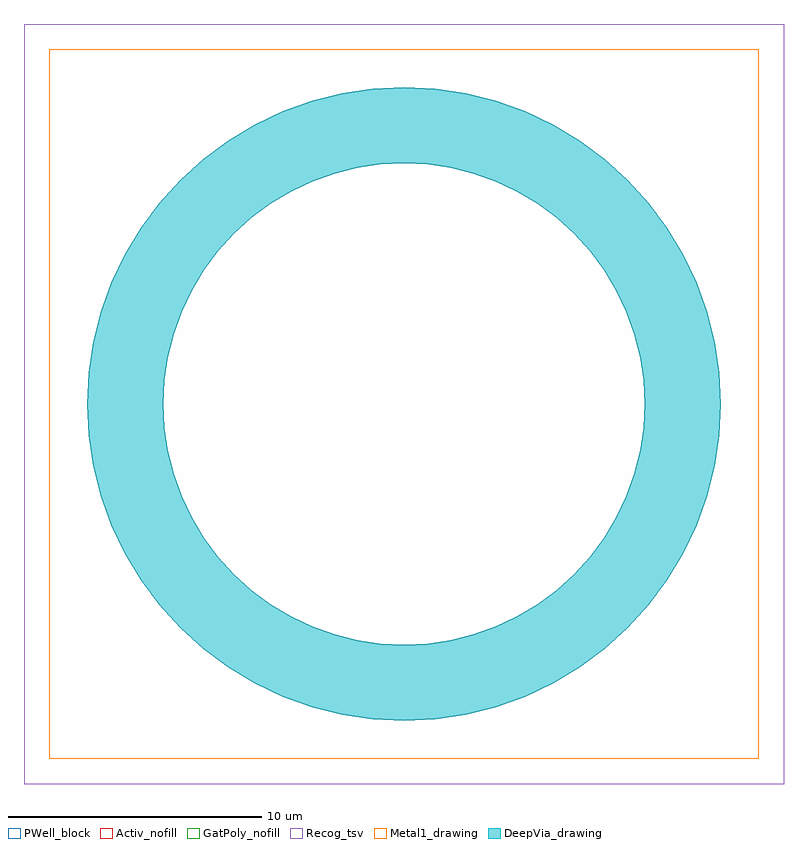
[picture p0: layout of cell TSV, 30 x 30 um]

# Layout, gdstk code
import gdstk
lib = gdstk.Library(unit=1e-6, precision=1e-09)
def R(c, l, rs):  # rectangles x0, y0, x1, y1
    for r in rs: c.add(gdstk.rectangle(r[:2], r[2:], *l))
def P(c, l, *ps):  # polygons
    for p in ps: c.add(gdstk.Polygon(p, *l))
Activ_nofill = (1, 23)
GatPoly_nofill = (5, 23)
Metal1_drawing = (8, 0)
PWell_block = (46, 21)
Recog_tsv = (99, 32)
DeepVia_drawing = (152, 0)

tsv = lib.new_cell('TSV')
R(tsv, Activ_nofill, [(-15,-15,15,15)])
R(tsv, GatPoly_nofill, [(-15,-15,15,15)])
R(tsv, Metal1_drawing, [(-14,-14,14,14)])
R(tsv, PWell_block, [(-15,-15,15,15)])
R(tsv, Recog_tsv, [(-15,-15,15,15)])
P(tsv, DeepVia_drawing, [(0,-12.5),(-1.225,-12.44),(-2.439,-12.26),(-3.629,-11.962),(-4.784,-11.548),(-5.892,-11.024),(-6.945,-10.393),(-7.93,-9.663),(-8.839,-8.839),(-9.663,-7.93),(-10.393,-6.945),(-11.024,-5.892),(-11.548,-4.784),(-11.962,-3.629),(-12.26,-2.439),(-12.44,-1.225),(-12.5,0),(-12.44,1.225),(-12.26,2.439),(-11.962,3.629),(-11.548,4.784),(-11.024,5.892),(-10.393,6.945),(-9.663,7.93),(-8.839,8.839),(-7.93,9.663),(-6.945,10.393),(-5.892,11.024),(-4.784,11.548),(-3.629,11.962),(-2.439,12.26),(-1.225,12.44),(0,12.5),(1.225,12.44),(2.439,12.26),(3.629,11.962),(4.784,11.548),(5.892,11.024),(6.945,10.393),(7.93,9.663),(8.839,8.839),(9.663,7.93),(10.393,6.945),(11.024,5.892),(11.548,4.784),(11.962,3.629),(12.26,2.439),(12.44,1.225),(12.5,0),(9.5,0),(9.454,0.931),(9.317,1.853),(9.091,2.758),(8.777,3.635),(8.378,4.478),(7.899,5.278),(7.344,6.027),(6.718,6.718),(6.027,7.344),(5.278,7.899),(4.478,8.378),(3.635,8.777),(2.758,9.091),(1.853,9.317),(0.931,9.454),(0,9.5),(-0.931,9.454),(-1.853,9.317),(-2.758,9.091),(-3.635,8.777),(-4.478,8.378),(-5.278,7.899),(-6.027,7.344),(-6.718,6.718),(-7.344,6.027),(-7.899,5.278),(-8.378,4.478),(-8.777,3.635),(-9.091,2.758),(-9.317,1.853),(-9.454,0.931),(-9.5,0),(-9.454,-0.931),(-9.317,-1.853),(-9.091,-2.758),(-8.777,-3.635),(-8.378,-4.478),(-7.899,-5.278),(-7.344,-6.027),(-6.718,-6.718),(-6.027,-7.344),(-5.278,-7.899),(-4.478,-8.378),(-3.635,-8.777),(-2.758,-9.091),(-1.853,-9.317),(-0.931,-9.454),(0,-9.5),(0.931,-9.454),(1.853,-9.317),(2.758,-9.091),(3.635,-8.777),(4.478,-8.378),(5.278,-7.899),(6.027,-7.344),(6.718,-6.718),(7.344,-6.027),(7.899,-5.278),(8.378,-4.478),(8.777,-3.635),(9.091,-2.758),(9.317,-1.853),(9.454,-0.931),(9.5,0),(12.5,0),(12.44,-1.225),(12.26,-2.439),(11.962,-3.629),(11.548,-4.784),(11.024,-5.892),(10.393,-6.945),(9.663,-7.93),(8.839,-8.839),(7.93,-9.663),(6.945,-10.393),(5.892,-11.024),(4.784,-11.548),(3.629,-11.962),(2.439,-12.26),(1.225,-12.44)])

lib.write_gds('TSV.gds')
